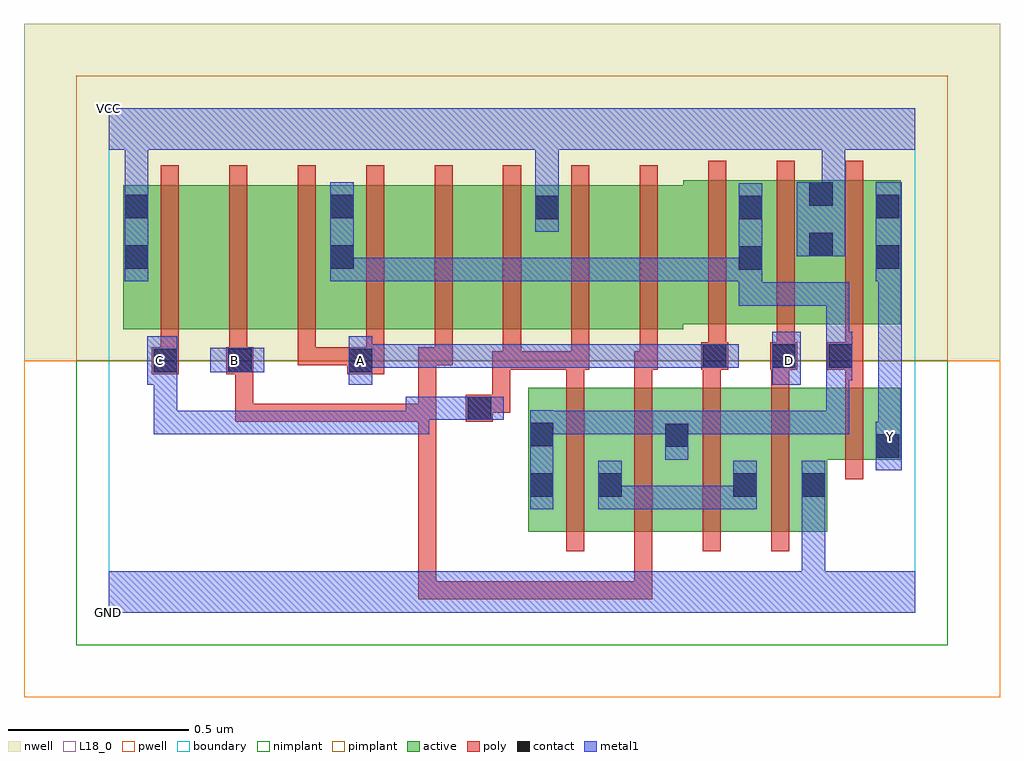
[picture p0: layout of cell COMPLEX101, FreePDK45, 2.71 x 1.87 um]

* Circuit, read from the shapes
.subckt COMPLEX101 A B C D GND VCC Y
M1 n1 C n2 VSUBS nfet w=0.4u l=0.05u
M2 n2 B n1 VSUBS nfet w=0.4u l=0.05u
M3 n1 A n2 VSUBS nfet w=0.4u l=0.05u
M4 GND D n1 VSUBS nfet w=0.4u l=0.05u
M5 Y n2 GND VSUBS nfet w=0.2u l=0.05u
M6 n3 C VCC n4 pfet w=0.4u l=0.05u
M7 n5 B n3 n4 pfet w=0.4u l=0.05u
M8 n2 A n5 n4 pfet w=0.4u l=0.05u
M9 n6 A n2 n4 pfet w=0.4u l=0.05u
M10 n7 B n6 n4 pfet w=0.4u l=0.05u
M11 VCC C n7 n4 pfet w=0.4u l=0.05u
M12 n8 C VCC n4 pfet w=0.4u l=0.05u
M13 n9 B n8 n4 pfet w=0.4u l=0.05u
M14 n2 A n9 n4 pfet w=0.4u l=0.05u
M15 VCC D n2 n4 pfet w=0.4u l=0.05u
M16 Y n2 VCC n4 pfet w=0.4u l=0.05u
.ends

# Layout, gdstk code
import gdstk
lib = gdstk.Library(unit=1e-6, precision=1e-09)
def R(c, l, rs):  # rectangles x0, y0, x1, y1
    for r in rs: c.add(gdstk.rectangle(r[:2], r[2:], *l))
def A(c, l, x, y, w, h, nx, ny, dx, dy):  # array of equal rectangles
    R(c, l, [(x+i*dx, y+j*dy, x+i*dx+w, y+j*dy+h) for i in range(nx) for j in range(ny)])
active = (1, 0)
pwell = (2, 0)
nwell = (3, 0)
nimplant = (4, 0)
pimplant = (5, 0)
poly = (9, 0)
contact = (10, 0)
metal1 = (11, 0)
L18_0 = (18, 0)
boundary = (235, 0)

complex101 = lib.new_cell('COMPLEX101')
A(complex101, active, 0.04, 0.787, 0.225, 0.4, 3, 1, 0.57, 0)
A(complex101, active, 0.265, 0.787, 0.19, 0.4, 3, 1, 0.57, 0)
R(complex101, active, [(1.165,0.225,1.43,0.625), (1.355,0.225,1.615,0.625), (1.54,0.225,1.805,0.625), (1.73,0.225,1.995,0.625), (1.92,0.225,1.995,0.597), (1.165,0.245,1.24,0.625), (1.355,0.245,1.43,0.537), (1.54,0.245,1.615,0.625), (1.73,0.245,1.805,0.492), (1.92,0.425,2.2,0.625), (2.125,0.425,2.2,0.625), (0.04,0.787,0.115,1.165), (0.455,0.787,0.685,1.187), (1.025,0.787,1.255,1.187), (1.595,0.8,1.82,1.2), (1.745,0.8,2.015,1.2), (1.94,0.8,2.2,1.2), (2.125,0.8,2.2,1.165), (0.61,0.907,0.685,1.187), (1.18,0.907,1.255,1.167), (1.745,0.907,1.82,1.2), (1.94,0.907,2.015,1.2)])
R(complex101, pwell, [(-0.235,-0.235,2.475,0.7)])
R(complex101, nwell, [(-0.235,0.7,2.475,1.635)])
R(complex101, nimplant, [(-0.09,-0.09,2.33,0.7)])
R(complex101, pimplant, [(-0.09,0.7,2.33,1.49)])
A(complex101, poly, 1.27, 0.17, 0.05, 0.51, 4, 1, 0.19, 0)
A(complex101, poly, 1.27, 0.63, 0.05, 0.095, 4, 1, 0.19, 0)
A(complex101, poly, 1.095, 0.675, 0.05, 0.107, 3, 1, 0.19, 0)
A(complex101, poly, 0.145, 0.687, 0.05, 0.095, 5, 1, 0.19, 0)
A(complex101, poly, 1.665, 0.7, 0.05, 0.095, 3, 1, 0.19, 0)
A(complex101, poly, 0.145, 0.732, 0.05, 0.51, 8, 1, 0.19, 0)
A(complex101, poly, 1.665, 0.745, 0.05, 0.51, 3, 1, 0.19, 0)
R(complex101, poly, [(0.86,0.037,0.91,0.087), (0.86,0.037,1.042,0.087), (0.86,0.037,0.91,0.58), (0.992,0.037,1.042,0.087), (0.992,0.037,1.042,0.087), (0.992,0.037,1.042,0.087), (0.992,0.037,1.042,0.087), (0.992,0.037,1.042,0.087), (0.992,0.037,1.277,0.087), (1.227,0.037,1.277,0.087), (1.227,0.037,1.277,0.087), (1.227,0.037,1.277,0.087), (1.227,0.037,1.51,0.087), (1.46,0.037,1.51,0.22), (1.46,0.037,1.51,0.087), (1.46,0.037,1.51,0.087), (1.46,0.037,1.51,0.087), (2.045,0.37,2.095,0.68), (0.352,0.53,0.402,0.58), (0.352,0.53,0.402,0.58), (0.352,0.53,0.402,0.58), (0.352,0.53,0.402,0.58), (0.352,0.53,0.402,0.58), (0.352,0.53,0.535,0.58), (0.352,0.53,0.402,0.712), (0.485,0.53,0.535,0.58), (0.485,0.53,0.535,0.58), (0.485,0.53,0.535,0.58), (0.485,0.53,0.707,0.58), (0.657,0.53,0.707,0.58), (0.657,0.53,0.707,0.58), (0.657,0.53,0.707,0.58), (0.657,0.53,0.91,0.58), (0.86,0.53,0.91,0.58), (0.86,0.53,0.91,0.58), (0.86,0.53,0.91,0.58), (0.86,0.53,0.91,0.737), (0.992,0.53,1.067,0.605), (1.017,0.555,1.067,0.605), (1.017,0.555,1.115,0.605), (1.065,0.555,1.115,0.725), (2.045,0.63,2.095,0.725), (0.12,0.662,0.195,0.737), (0.327,0.662,0.402,0.737), (0.662,0.662,0.765,0.737), (1.065,0.675,1.145,0.725), (1.095,0.675,1.32,0.725), (1.27,0.675,1.335,0.725), (1.27,0.675,1.32,0.725), (1.27,0.675,1.32,0.725), (1.46,0.675,1.525,0.725), (1.645,0.675,1.72,0.75), (1.837,0.675,1.912,0.75), (1.995,0.675,2.095,0.75), (0.525,0.687,0.575,0.737), (0.525,0.687,0.575,0.737), (0.525,0.687,0.575,0.737), (0.525,0.687,0.712,0.737), (0.86,0.687,0.91,0.737), (0.86,0.687,0.91,0.737), (0.86,0.687,0.955,0.737)])
R(complex101, contact, [(1.17,0.322,1.235,0.387), (1.36,0.322,1.425,0.387), (1.735,0.322,1.8,0.387), (1.925,0.322,1.99,0.387), (2.13,0.43,2.195,0.495), (1.545,0.46,1.61,0.525), (1.17,0.462,1.235,0.527), (0.997,0.535,1.062,0.6), (0.125,0.667,0.19,0.732), (0.332,0.667,0.397,0.732), (0.667,0.667,0.732,0.732), (1.65,0.68,1.715,0.745), (1.842,0.68,1.907,0.745), (2,0.68,2.065,0.745), (1.75,0.952,1.815,1.017), (0.045,0.955,0.11,1.02), (0.615,0.955,0.68,1.02), (2.13,0.955,2.195,1.02), (1.945,0.99,2.01,1.055), (1.185,1.092,1.25,1.157), (1.75,1.092,1.815,1.157), (0.045,1.095,0.11,1.16), (0.615,1.095,0.68,1.16), (2.13,1.095,2.195,1.16), (1.945,1.13,2.01,1.195)])
R(complex101, metal1, [(0,0,2.24,0.115), (1.925,0.05,1.99,0.352), (1.17,0.287,1.235,0.562), (1.36,0.287,1.425,0.352), (1.36,0.287,1.425,0.352), (1.36,0.287,1.425,0.422), (1.36,0.287,1.662,0.352), (1.597,0.287,1.662,0.352), (1.597,0.287,1.662,0.352), (1.597,0.287,1.662,0.352), (1.597,0.287,1.8,0.352), (1.735,0.287,1.8,0.422), (1.925,0.287,1.99,0.352), (1.925,0.287,1.99,0.352), (1.925,0.287,1.99,0.422), (2.13,0.395,2.202,0.53), (2.137,0.422,2.202,0.487), (2.137,0.422,2.202,0.557), (1.545,0.425,1.61,0.56), (2.137,0.492,2.202,0.985), (0.125,0.495,0.19,0.56), (0.125,0.495,0.405,0.56), (0.125,0.495,0.19,0.697), (0.34,0.495,0.405,0.56), (0.34,0.495,0.405,0.56), (0.34,0.495,0.405,0.56), (0.34,0.495,0.542,0.56), (0.477,0.495,0.542,0.56), (0.477,0.495,0.542,0.56), (0.477,0.495,0.542,0.56), (0.477,0.495,0.752,0.56), (0.687,0.495,0.752,0.56), (0.687,0.495,0.89,0.56), (0.825,0.495,0.89,0.56), (0.825,0.495,0.89,0.56), (0.825,0.495,0.89,0.6), (1.17,0.495,1.235,0.56), (1.17,0.495,1.235,0.56), (1.17,0.495,1.372,0.56), (1.307,0.495,1.372,0.56), (1.307,0.495,1.372,0.56), (1.307,0.495,1.372,0.56), (1.307,0.495,1.61,0.56), (1.545,0.495,1.61,0.56), (1.545,0.495,1.61,0.56), (1.545,0.495,1.837,0.56), (1.772,0.495,1.837,0.56), (1.772,0.495,1.837,0.56), (1.772,0.495,1.837,0.56), (1.772,0.495,2.057,0.56), (1.992,0.495,2.057,0.56), (1.992,0.495,2.057,0.71), (0.825,0.535,1.027,0.6), (0.962,0.535,1.027,0.6), (0.962,0.535,1.027,0.6), (0.962,0.535,1.027,0.6), (0.962,0.535,1.027,0.6), (0.962,0.535,1.097,0.6), (0.107,0.632,0.19,0.767), (0.125,0.632,0.19,0.697), (0.125,0.632,0.19,0.697), (0.667,0.632,0.732,0.767), (1.842,0.632,1.922,0.78), (1.992,0.645,2.057,0.71), (1.992,0.645,2.065,0.71), (1.992,0.645,2.057,0.917), (2,0.645,2.065,0.78), (0.282,0.667,0.432,0.735), (0.667,0.68,0.89,0.745), (0.825,0.68,0.89,0.745), (0.825,0.68,0.89,0.745), (0.825,0.68,0.89,0.745), (0.825,0.68,1.027,0.745), (0.962,0.68,1.027,0.745), (0.962,0.68,1.027,0.745), (0.962,0.68,1.027,0.745), (0.962,0.68,1.235,0.745), (1.17,0.68,1.235,0.745), (1.17,0.68,1.235,0.745), (1.17,0.68,1.235,0.745), (1.17,0.68,1.372,0.745), (1.307,0.68,1.372,0.745), (1.307,0.68,1.372,0.745), (1.307,0.68,1.372,0.745), (1.307,0.68,1.562,0.745), (1.497,0.68,1.562,0.745), (1.497,0.68,1.68,0.745), (1.615,0.68,1.75,0.745), (1.75,0.852,2.057,0.917), (1.75,0.852,1.815,0.982), (1.992,0.852,2.057,0.917), (1.75,0.917,1.815,0.982), (1.75,0.917,1.815,1.192), (0.045,0.92,0.11,1.195), (0.615,0.92,0.68,0.985), (0.615,0.92,0.68,0.985), (0.615,0.92,0.68,1.195), (0.615,0.92,0.89,0.985), (0.825,0.92,0.89,0.985), (0.825,0.92,0.89,0.985), (0.825,0.92,0.89,0.985), (0.825,0.92,1.027,0.985), (0.962,0.92,1.027,0.985), (0.962,0.92,1.027,0.985), (0.962,0.92,1.027,0.985), (0.962,0.92,1.235,0.985), (1.17,0.92,1.235,0.985), (1.17,0.92,1.235,0.985), (1.17,0.92,1.235,0.985), (1.17,0.92,1.372,0.985), (1.307,0.92,1.372,0.985), (1.307,0.92,1.372,0.985), (1.307,0.92,1.372,0.985), (1.307,0.92,1.562,0.985), (1.497,0.92,1.562,0.985), (1.497,0.92,1.562,0.985), (1.497,0.92,1.562,0.985), (1.497,0.92,1.815,0.985), (2.13,0.92,2.202,1.195), (1.91,0.99,2.045,1.195), (1.185,1.057,1.25,1.192), (1.185,1.127,1.25,1.35), (0.045,1.13,0.11,1.35), (1.98,1.13,2.045,1.35), (0,1.285,2.24,1.4)])
R(complex101, L18_0, [(0,0,2.24,0.115), (1.925,0.05,1.99,0.352), (1.925,0.287,1.99,0.352), (1.925,0.287,1.99,0.352), (1.925,0.287,1.99,0.422), (2.13,0.395,2.202,0.53), (2.137,0.422,2.202,0.487), (2.137,0.422,2.202,0.557), (2.137,0.457,2.202,0.522), (2.137,0.492,2.202,0.985), (0.125,0.495,0.19,0.56), (0.125,0.495,0.19,0.697), (0.125,0.495,0.405,0.56), (0.34,0.495,0.405,0.56), (0.34,0.495,0.405,0.56), (0.34,0.495,0.405,0.56), (0.34,0.495,0.542,0.56), (0.477,0.495,0.542,0.56), (0.477,0.495,0.542,0.56), (0.477,0.495,0.542,0.56), (0.477,0.495,0.752,0.56), (0.687,0.495,0.752,0.56), (0.687,0.495,0.89,0.56), (0.825,0.495,0.89,0.56), (0.825,0.495,0.89,0.56), (0.825,0.495,0.89,0.6), (0.825,0.535,1.027,0.6), (0.962,0.535,1.027,0.6), (0.962,0.535,1.027,0.6), (0.962,0.535,1.027,0.6), (0.962,0.535,1.027,0.6), (0.962,0.535,1.097,0.6), (0.107,0.632,0.19,0.767), (0.125,0.632,0.19,0.697), (0.125,0.632,0.19,0.697), (0.667,0.632,0.732,0.767), (1.842,0.632,1.922,0.78), (0.107,0.667,0.172,0.732), (0.282,0.667,0.432,0.735), (0.317,0.667,0.382,0.732), (0.667,0.667,0.732,0.732), (1.857,0.667,1.922,0.732), (0.667,0.68,0.89,0.745), (0.825,0.68,0.89,0.745), (0.825,0.68,0.89,0.745), (0.825,0.68,0.89,0.745), (0.825,0.68,1.027,0.745), (0.962,0.68,1.027,0.745), (0.962,0.68,1.027,0.745), (0.962,0.68,1.027,0.745), (0.962,0.68,1.235,0.745), (1.17,0.68,1.235,0.745), (1.17,0.68,1.235,0.745), (1.17,0.68,1.235,0.745), (1.17,0.68,1.372,0.745), (1.307,0.68,1.372,0.745), (1.307,0.68,1.372,0.745), (1.307,0.68,1.372,0.745), (1.307,0.68,1.562,0.745), (1.497,0.68,1.562,0.745), (1.497,0.68,1.68,0.745), (1.615,0.68,1.75,0.745), (0.045,0.92,0.11,1.195), (2.13,0.92,2.202,1.195), (1.91,0.99,2.045,1.195), (1.185,1.057,1.25,1.192), (1.185,1.127,1.25,1.35), (0.045,1.13,0.11,1.35), (1.98,1.13,2.045,1.35), (0,1.285,2.24,1.4)])
R(complex101, boundary, [(0,0,2.24,1.4)])
complex101.add(gdstk.Label('A', (0.7,0.7), layer=11, texttype=0))
complex101.add(gdstk.Label('B', (0.35,0.7), layer=11, texttype=0))
complex101.add(gdstk.Label('C', (0.14,0.7), layer=11, texttype=0))
complex101.add(gdstk.Label('D', (1.89,0.7), layer=11, texttype=0))
complex101.add(gdstk.Label('Y', (2.17,0.49), layer=11, texttype=0))
complex101.add(gdstk.Label('VCC', (0,1.4), layer=11, texttype=0))
complex101.add(gdstk.Label('GND', (0,0), layer=11, texttype=0))

lib.write_gds('COMPLEX101.gds')
